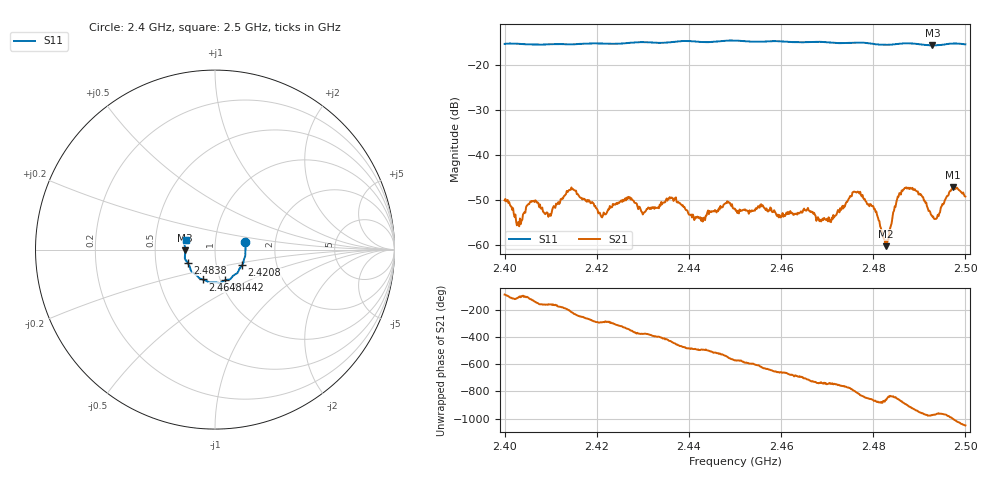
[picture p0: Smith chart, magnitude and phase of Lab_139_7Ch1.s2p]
# Hz S RI R 50
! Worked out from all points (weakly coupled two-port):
!   601 points, 2.4 GHz to 2.5 GHz, reference 50 ohm
!   highest |S21| = -47.01 dB at 2.4973 GHz (marker M1); lowest = -60.2 dB at 2.4827 GHz (marker M2)
!   lowest |S11| = -15.6 dB at 2.4928 GHz (marker M3), VSWR 1.40, Z = 35.8 - j0.339 ohm
!   |S11| at or under -10 dB: start of sweep to end of sweep
!   S12 and S22 are empty: the file has one direction only
!   S11 on the Smith chart (normalised r, x): 2.4 GHz: 1.40, +0.12; 2.4208 GHz: 1.33, -0.24; 2.4442 GHz: 1.05, -0.37; 2.4648 GHz: 0.83, -0.28; 2.4838 GHz: 0.73, -0.11; 2.5 GHz: 0.72, +0.08
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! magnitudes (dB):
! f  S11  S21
! 2.4 GHz  -15.3  -50.0
! 2.403 GHz  -15.2  -54.8
! 2.4058 GHz  -15.4  -50.3
! 2.4097 GHz  -15.3  -53.2
! 2.414 GHz  -15.4  -47.7
! 2.4167 GHz  -15.2  -49.5
! 2.4208 GHz  -15.2  -53.3
! 2.4267 GHz  -15.1  -49.7
! 2.4333 GHz  -15.0  -51.5
! 2.4442 GHz  -14.9  -52.3
! 2.45 GHz  -14.5  -51.9
! 2.4648 GHz  -14.9  -52.1
! 2.4667 GHz  -14.8  -52.7
! 2.4707 GHz  -15.0  -54.5
! 2.4767 GHz  -15.0  -48.0
! 2.4827 GHz  -15.5  -60.2
! 2.4833 GHz  -15.5  -58.6
! 2.4838 GHz  -15.4  -55.7
! 2.4872 GHz  -15.1  -47.1
! 2.4928 GHz  -15.6  -53.6
! 2.4973 GHz  -15.2  -47.0
! 2.5 GHz  -15.4  -49.2
